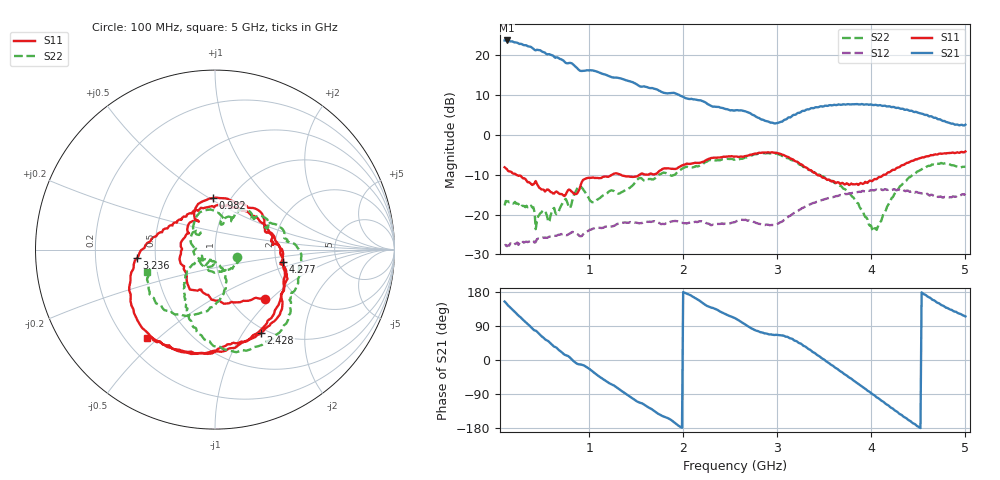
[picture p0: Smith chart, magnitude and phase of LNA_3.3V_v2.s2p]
!Agilent Technologies,E8362C,MY49020251,A.08.50.10
!Agilent E8362C: A.08.50.10
!Date: Tuesday, May 17, 2016 05:09:25
!Correction: S11(Full 2 Port(1,2))
!S21(Full 2 Port(1,2))
!S12(Full 2 Port(1,2))
!S22(Full 2 Port(1,2))
!S2P File: Measurements: S11, S21, S12, S22:
# Hz S  dB  R 50
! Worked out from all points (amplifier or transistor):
!   401 points, 100 MHz to 5 GHz, reference 50 ohm
!   highest |S21| = 23.7 dB at 124.5 MHz (marker M1)
!   |S21| within 3 dB of that: start of sweep to 521.4 MHz
!   unconditionally stable (mu >= 1): start of sweep to end of sweep
!   at 908.5 MHz: K = 1.46, MAG = 16.7 dB, |S12| = -25.4 dB
!   at 2.55 GHz: K = 1.55, MAG = 9.6 dB, |S12| = -21.9 dB
!   at 5 GHz: K = 1.43, MAG = 4.8 dB, |S12| = -14.8 dB
!   S11 on the Smith chart (normalised r, x): 100 MHz: 1.43, -0.92; 982 MHz: 0.83, +0.52; 2.428 GHz: 0.93, -1.21; 3.236 GHz: 0.39, -0.04; 4.277 GHz: 2.19, -0.36; 5 GHz: 0.29, -0.46
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1e8  -8.13 -44.3  23.71 154.3  -27.77 5.6  -17.72 -17.8
1.245e8  -8.62 -47.5  23.72 147.6  -27.94 0.0  -16.68 -27.7
2.1025e8  -9.76 -64.3  23.22 126.7  -27.38 -6.5  -16.84 -47.6
3.0825e8  -10.90 -89.0  22.53 103.8  -27.03 -15.9  -17.87 -67.0
3.94e8  -12.56 -108.8  21.85 83.0  -26.47 -23.9  -18.21 -97.4
5.165e8  -13.77 -148.3  20.76 58.1  -25.85 -34.1  -19.03 -133.3
7.0025e8  -14.82 153.7  19.02 22.0  -24.90 -53.8  -17.80 168.7
8.4725e8  -14.83 120.5  17.32 -5.8  -24.61 -72.4  -14.64 129.6
9.2075e8  -11.85 115.1  16.05 -12.6  -25.40 -74.0  -13.27 91.2
9.82e8  -10.82 92.3  16.23 -20.1  -24.20 -77.6  -15.46 73.1
1.11675e9  -10.85 63.5  15.59 -45.5  -23.35 -96.2  -15.81 78.3
1.325e9  -9.88 30.8  14.25 -78.2  -22.21 -120.3  -14.67 60.4
1.7415e9  -9.16 4.6  11.12 -143.0  -22.09 -177.0  -10.04 37.2
1.9375e9  -8.36 -12.7  10.21 -171.2  -21.68 160.8  -9.30 25.8
2.4275e9  -5.48 -61.1  6.70 123.4  -22.39 110.9  -6.17 -19.0
2.55e9  -5.43 -75.2  6.16 110.4  -21.89 100.6  -6.21 -29.6
3.236e9  -7.20 -173.9  5.53 44.2  -18.80 41.3  -7.49 -108.2
3.37075e9  -9.18 168.3  6.74 22.2  -17.20 21.0  -9.25 -117.8
3.873e9  -12.32 90.4  7.64 -65.1  -14.27 -61.3  -18.02 -147.5
4.1915e9  -9.39 8.9  7.19 -122.4  -13.64 -114.5  -17.09 -68.1
4.27725e9  -8.23 -10.5  6.80 -137.1  -13.83 -128.7  -13.87 -73.2
5e9  -4.16 -127.7  2.56 115.0  -14.77 134.3  -8.00 -162.0
